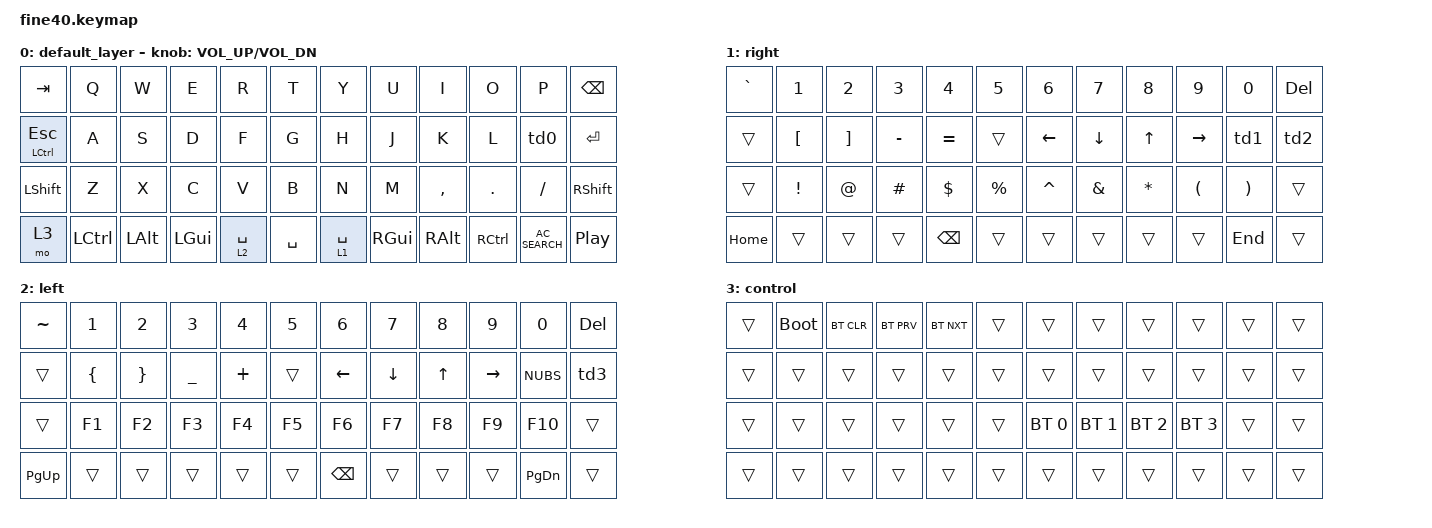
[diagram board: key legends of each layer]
/*
 * Aidan Smith (2021)
 *
 * SPDX-License-Identifier: MIT
 */

#include <behaviors.dtsi>
#include <dt-bindings/zmk/keys.h>
#include <dt-bindings/zmk/bt.h>
#include <dt-bindings/zmk/ext_power.h>

/ {

    behaviors {
    td0: tap_dance_0 {
            compatible = "zmk,behavior-tap-dance";
            #binding-cells = <0>;
            tapping-term-ms = <200>;
            bindings = <&kp SEMI>, <&kp COLON>;
        };
    td1: tap_dance_1 {
            compatible = "zmk,behavior-tap-dance";
            #binding-cells = <0>;
            tapping-term-ms = <200>;
            bindings = <&kp SQT>, <&kp DQT>;
        };
    td2: tap_dance_2 {
            compatible = "zmk,behavior-tap-dance";
            #binding-cells = <0>;
            tapping-term-ms = <200>;
            bindings = <&kp BACKSLASH>, <&kp PIPE>;
        };
    td3: tap_dance_3 {
            compatible = "zmk,behavior-tap-dance";
            #binding-cells = <0>;
            tapping-term-ms = <200>;
            bindings = <&kp GRAVE>, <&kp TILDE>;
        };
    };

	keymap {
		compatible = "zmk,keymap";

		default_layer {
				// -----------------------------------------------------------------------------------------
				// |  ESC  |  Q   |  W   |  E   |  R   |  T   |   Y   |  U    |  I   |  O   |   P   | BSPC  |
				// |  TAB  |  A   |  S   |  D   |  F   |  G   |   H   |  J    |  K   |  L   |   ;   |  '    |
				// | SHIFT |  Z   |  X   |  C   |  V   |  B   |   N   |  M    |  ,   |  .   |   /   |  RET  |
				// | LCTL  | LGUI | LALT |  \   | LOWR | SPC  |  RAIS | LARW | DARW | UARW  |  RARW |  P/P  |

			bindings = <
				&kp TAB       &kp Q    &kp W    &kp E    &kp R       &kp T     &kp Y    &kp U     &kp I     &kp O     &kp P     &kp BSPC
				&mt LCTRL ESC &kp A    &kp S    &kp D    &kp F       &kp G     &kp H    &kp J     &kp K     &kp L     &td0      &kp RET
				&kp LSHFT     &kp Z    &kp X    &kp C    &kp V       &kp B     &kp N    &kp M     &kp COMMA &kp DOT   &kp FSLH  &kp RSHFT
				&mo 3         &kp LCTL &kp LALT &kp LGUI &lt 2 SPACE &kp SPACE &lt 1 SPACE        &kp RGUI  &kp RALT  &kp RCTL  &kp C_AC_SEARCH            &kp C_PP
			>;

			sensor-bindings = <&inc_dec_kp C_VOL_UP C_VOL_DN>;
		};

		right {
			bindings = <
				&kp GRAVE    &kp N1     &kp N2     &kp N3     &kp N4     &kp N5     &kp N6     &kp N7     &kp N8        &kp N9       &kp N0       &kp DEL
				&trans       &kp LBKT   &kp RBKT   &kp MINUS  &kp EQUAL  &trans     &kp LEFT   &kp DOWN   &kp UP        &kp RIGHT    &td1         &td2
				&trans       &kp EXCL   &kp AT     &kp HASH   &kp DLLR   &kp PRCNT  &kp CARET  &kp AMPS   &kp ASTRK     &kp LPAR     &kp RPAR     &trans
				&kp HOME     &trans     &trans     &trans     &kp BSPC   &trans     &trans                &trans        &trans       &trans       &kp END  &trans
			>;
		};

		left {
			bindings = <
				&kp TILDE    &kp N1     &kp N2     &kp N3     &kp N4     &kp N5     &kp N6     &kp N7     &kp N8        &kp N9       &kp N0     &kp DEL
				&trans       &kp LBRC   &kp RBRC   &kp UNDER  &kp PLUS   &trans     &kp LEFT   &kp DOWN   &kp UP        &kp RIGHT    &kp NUBS   &td3
				&trans       &kp F1     &kp F2     &kp F3     &kp F4     &kp F5     &kp F6     &kp F7     &kp F8        &kp F9       &kp F10    &trans
				&kp PG_UP    &trans     &trans     &trans     &trans     &trans     &kp BSPC              &trans        &trans       &trans     &kp PG_DN  &trans

			>;
		};

		control {
			bindings = <
				&trans &bootloader &bt BT_CLR &bt BT_PRV &bt BT_NXT &trans  &trans  &trans  &trans  &trans  &trans  &trans
				&trans &trans      &trans     &trans     &trans     &trans  &trans       &trans       &trans        &trans        &trans  &trans
				&trans &trans      &trans     &trans     &trans     &trans  &bt BT_SEL 0 &bt BT_SEL 1 &bt BT_SEL 2  &bt BT_SEL 3  &trans  &trans
				&trans &trans      &trans     &trans     &trans     &trans  &trans       &trans       &trans        &trans        &trans  &trans
			>;
		};
	};
};
